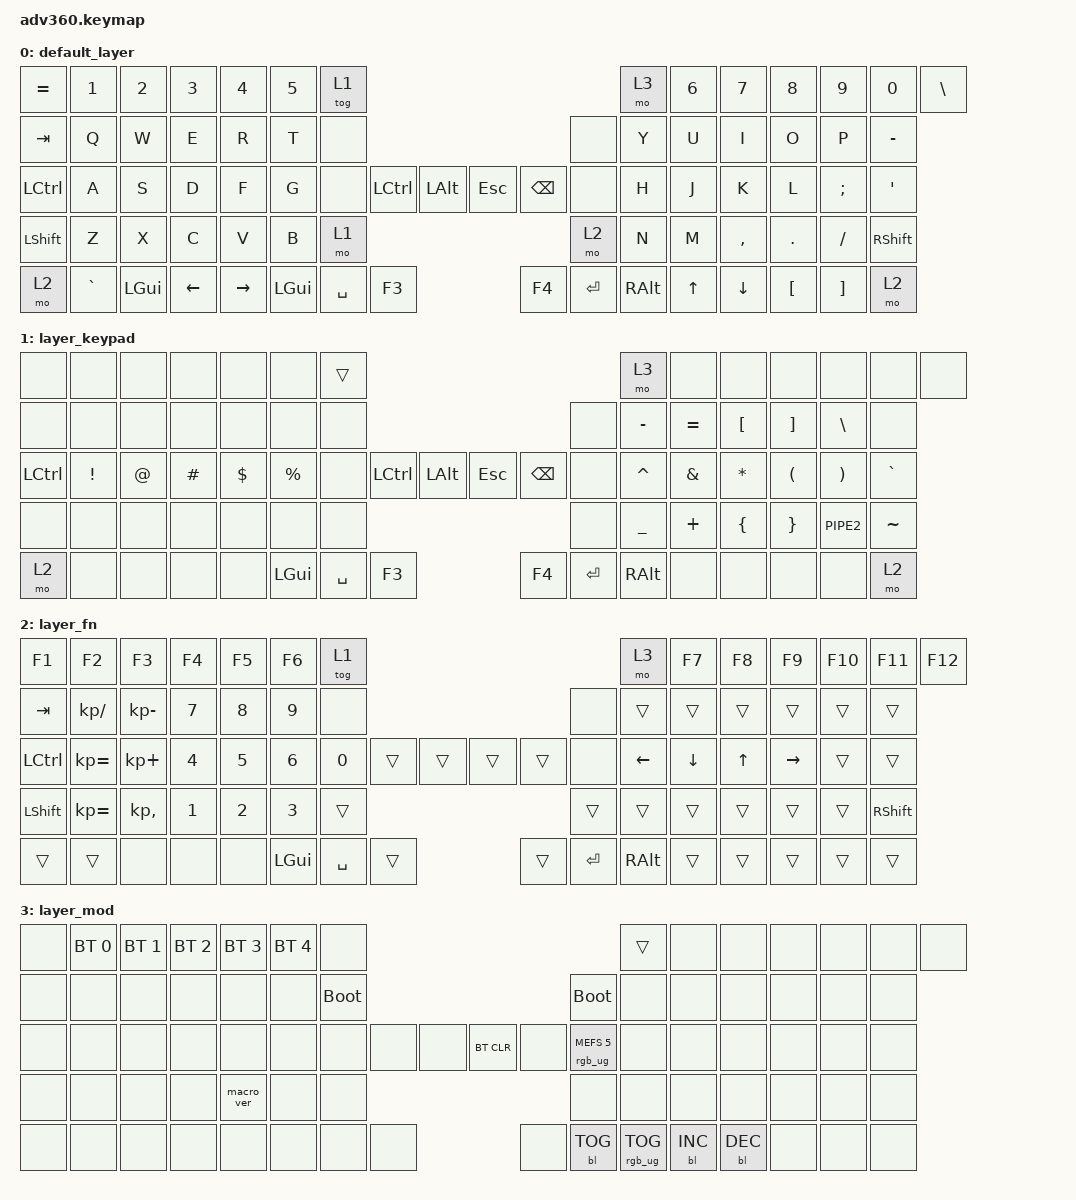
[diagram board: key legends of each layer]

/*
 * Copyright (c) 2020 The ZMK Contributors
 *
 * SPDX-License-Identifier: MIT
 */


/* THIS FILE WAS GENERATED!
 *
 * This file was generated automatically. You may or may not want to
 * edit it directly.
 */

#include <behaviors.dtsi>
#include <dt-bindings/zmk/keys.h>
#include <dt-bindings/zmk/bt.h>
#include <dt-bindings/zmk/rgb.h>
#include <dt-bindings/zmk/backlight.h>

/ {
  behaviors {
    #include "macros.dtsi"
    #include "version.dtsi"

    hm: homerow_mods {
        compatible = "zmk,behavior-hold-tap";
        label = "HOMEROW_MODS";
        #binding-cells = <2>;
        tapping-term-ms = <200>;
        quick_tap_ms = <175>;
        flavor = "tap-preferred";
        bindings = <&kp>, <&kp>;
    };
  };

    keymap {
        compatible = "zmk,keymap";


        default_layer {
            bindings = <
        &kp EQUAL     &kp N1    &kp N2    &kp N3     &kp N4  &kp N5              &tog 1                                                                  &mo 3  &kp N6  &kp N7     &kp N8    &kp N9    &kp N0   &kp BSLH
          &kp TAB      &kp Q     &kp W     &kp E      &kp R   &kp T               &none                                                                  &none   &kp Y   &kp U      &kp I     &kp O     &kp P  &kp MINUS
 &kp LEFT_CONTROL      &kp A     &kp S     &kp D      &kp F   &kp G               &none  &kp LCTRL  &kp LALT                  &kp ESC  &kp BACKSPACE     &none   &kp H   &kp J      &kp K     &kp L  &kp SEMI    &kp SQT
        &kp LSHFT      &kp Z     &kp X     &kp C      &kp V   &kp B                                    &mo 1                    &mo 2                            &kp N   &kp M  &kp COMMA   &kp DOT  &kp FSLH  &kp RSHFT
            &mo 2  &kp GRAVE  &kp LGUI  &kp LEFT  &kp RIGHT                    &kp LGUI  &kp SPACE    &kp F3                   &kp F4      &kp ENTER  &kp RALT          &kp UP   &kp DOWN  &kp LBKT  &kp RBKT      &mo 2
            >;
        };

        layer_keypad {
            bindings = <
     &none            &none        &none     &none       &none        &none              &trans                                                                  &mo 3           &none          &none           &none                 &none                  &none      &none
     &none            &none        &none     &none       &none        &none               &none                                                                  &none       &kp MINUS      &kp EQUAL        &kp LBKT              &kp RBKT               &kp BSLH      &none
 &kp LCTRL  &kp EXCLAMATION  &kp AT_SIGN  &kp HASH  &kp DOLLAR  &kp PERCENT               &none  &kp LCTRL  &kp LALT                  &kp ESC  &kp BACKSPACE     &none       &kp CARET  &kp AMPERSAND    &kp ASTERISK  &kp LEFT_PARENTHESIS  &kp RIGHT_PARENTHESIS  &kp GRAVE
     &none            &none        &none     &none       &none        &none                                    &none                    &none                           &kp UNDERSCORE       &kp PLUS  &kp LEFT_BRACE       &kp RIGHT_BRACE              &kp PIPE2  &kp TILDE
     &mo 2            &none        &none     &none       &none                         &kp LGUI  &kp SPACE    &kp F3                   &kp F4      &kp ENTER  &kp RALT                          &none           &none                 &none                  &none      &mo 2
            >;
        };

        layer_fn {
            bindings = <
         &kp F1         &kp F2        &kp F3        &kp F4        &kp F5        &kp F6                  &tog 1                                                           &mo 3          &kp F7          &kp F8        &kp F9          &kp F10  &kp F11          &kp F12
        &kp TAB  &kp KP_DIVIDE  &kp KP_MINUS  &kp NUMBER_7  &kp NUMBER_8  &kp NUMBER_9                   &none                                                           &none          &trans          &trans        &trans           &trans   &trans           &trans
      &kp LCTRL   &kp KP_EQUAL   &kp KP_PLUS  &kp NUMBER_4  &kp NUMBER_5  &kp NUMBER_6            &kp NUMBER_0     &trans  &trans                  &trans     &trans     &none  &kp LEFT_ARROW  &kp DOWN_ARROW  &kp UP_ARROW  &kp RIGHT_ARROW   &trans           &trans
 &kp LEFT_SHIFT   &kp KP_EQUAL  &kp KP_COMMA  &kp NUMBER_1  &kp NUMBER_2  &kp NUMBER_3                                     &trans                  &trans                               &trans          &trans        &trans           &trans   &trans  &kp RIGHT_SHIFT
         &trans         &trans         &none         &none         &none                              &kp LGUI  &kp SPACE  &trans                  &trans  &kp ENTER  &kp RALT                          &trans        &trans           &trans   &trans           &trans
            >;
        };

        layer_mod {
            bindings = <
  &none  &bt BT_SEL 0  &bt BT_SEL 1  &bt BT_SEL 2  &bt BT_SEL 3  &bt BT_SEL 4                  &none                                                                          &trans   &none       &none       &none   &none   &none   &none
  &none         &none         &none         &none         &none         &none            &bootloader                                                                     &bootloader   &none       &none       &none   &none   &none   &none
  &none         &none         &none         &none         &none         &none                  &none   &none   &none                  &bt BT_CLR       &none  &rgb_ug RGB_MEFS_CMD 5   &none       &none       &none   &none   &none   &none
  &none         &none         &none         &none    &macro_ver         &none                                  &none                       &none                                       &none       &none       &none   &none   &none   &none
  &none         &none         &none         &none         &none                                &none   &none   &none                       &none  &bl BL_TOG         &rgb_ug RGB_TOG          &bl BL_INC  &bl BL_DEC   &none   &none   &none
            >;
        };

    };
};
